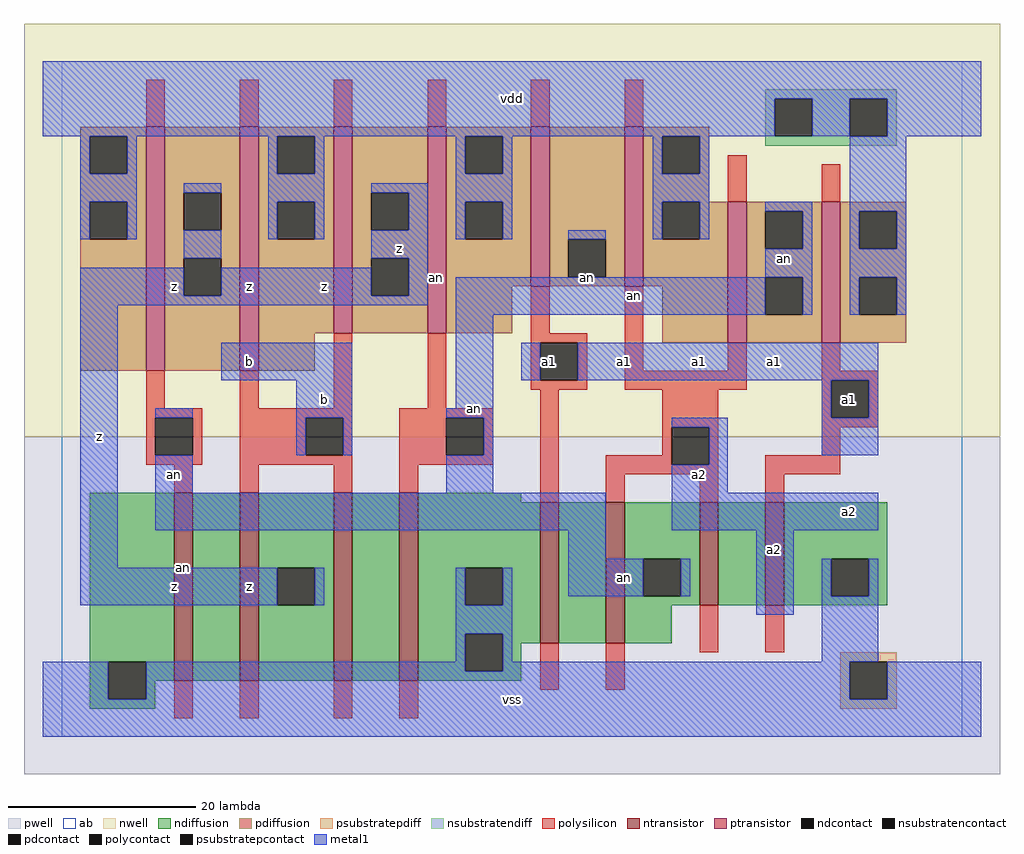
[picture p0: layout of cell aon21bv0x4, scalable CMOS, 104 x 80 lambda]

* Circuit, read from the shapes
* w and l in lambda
.subckt aon21bv0x4 a1 a2 an b vdd vss z
M1 n1 an vss vss nfet w=20 l=2
M2 z b n1 vss nfet w=20 l=2
M3 n2 b z vss nfet w=20 l=2
M4 vss an n2 vss nfet w=20 l=2
M5 n3 a1 vss vss nfet w=15 l=2
M6 an a2 n3 vss nfet w=15 l=2
M7 n4 a2 an vss nfet w=11 l=2
M8 vss a1 n4 vss nfet w=11 l=2
M9 z an vdd vdd pfet w=26 l=2
M10 vdd b z vdd pfet w=26 l=2
M11 z b vdd vdd pfet w=22 l=2
M12 vdd an z vdd pfet w=22 l=2
M13 an a1 vdd vdd pfet w=17 l=2
M14 vdd a2 an vdd pfet w=17 l=2
M15 an a2 vdd vdd pfet w=15 l=2
M16 vdd a1 an vdd pfet w=15 l=2
.ends

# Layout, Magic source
magic
tech scmos
<< ab >>
rect 0 0 96 72
<< pwell >>
rect -4 -4 100 32
<< nwell >>
rect -4 32 100 76
<< polysilicon >>
rect 9 65 11 70
rect 19 65 21 70
rect 29 65 31 70
rect 39 65 41 70
rect 50 65 52 70
rect 60 65 62 70
rect 71 57 73 62
rect 81 57 83 61
rect 50 43 52 48
rect 9 35 11 39
rect 19 35 21 39
rect 29 35 31 43
rect 39 35 41 43
rect 50 42 56 43
rect 50 38 51 42
rect 55 38 56 42
rect 50 37 56 38
rect 60 39 62 48
rect 71 39 73 42
rect 60 37 73 39
rect 81 39 83 42
rect 81 38 87 39
rect 9 34 15 35
rect 9 30 10 34
rect 14 30 15 34
rect 9 29 15 30
rect 19 34 31 35
rect 19 30 26 34
rect 30 30 31 34
rect 19 29 31 30
rect 12 26 14 29
rect 19 26 21 29
rect 29 26 31 29
rect 36 34 46 35
rect 36 30 41 34
rect 45 30 46 34
rect 36 29 46 30
rect 36 26 38 29
rect 51 25 53 37
rect 64 33 70 37
rect 64 30 65 33
rect 58 29 65 30
rect 69 29 70 33
rect 81 34 82 38
rect 86 34 87 38
rect 81 33 87 34
rect 81 30 83 33
rect 58 28 70 29
rect 58 25 60 28
rect 68 25 70 28
rect 75 28 83 30
rect 75 25 77 28
rect 12 2 14 6
rect 19 2 21 6
rect 29 2 31 6
rect 36 2 38 6
rect 51 5 53 10
rect 58 5 60 10
rect 68 9 70 14
rect 75 9 77 14
<< ndiffusion >>
rect 3 8 12 26
rect 3 4 5 8
rect 9 6 12 8
rect 14 6 19 26
rect 21 18 29 26
rect 21 14 23 18
rect 27 14 29 18
rect 21 6 29 14
rect 31 6 36 26
rect 38 25 49 26
rect 38 18 51 25
rect 38 14 43 18
rect 47 14 51 18
rect 38 11 51 14
rect 38 7 43 11
rect 47 10 51 11
rect 53 10 58 25
rect 60 19 68 25
rect 60 15 62 19
rect 66 15 68 19
rect 60 14 68 15
rect 70 14 75 25
rect 77 19 88 25
rect 77 15 82 19
rect 86 15 88 19
rect 77 14 88 15
rect 60 10 65 14
rect 47 7 49 10
rect 38 6 49 7
rect 9 4 10 6
rect 3 3 10 4
<< pdiffusion >>
rect 2 64 9 65
rect 2 60 3 64
rect 7 60 9 64
rect 2 57 9 60
rect 2 53 3 57
rect 7 53 9 57
rect 2 39 9 53
rect 11 58 19 65
rect 11 54 13 58
rect 17 54 19 58
rect 11 51 19 54
rect 11 47 13 51
rect 17 47 19 51
rect 11 39 19 47
rect 21 64 29 65
rect 21 60 23 64
rect 27 60 29 64
rect 21 57 29 60
rect 21 53 23 57
rect 27 53 29 57
rect 21 43 29 53
rect 31 58 39 65
rect 31 54 33 58
rect 37 54 39 58
rect 31 51 39 54
rect 31 47 33 51
rect 37 47 39 51
rect 31 43 39 47
rect 41 64 50 65
rect 41 60 43 64
rect 47 60 50 64
rect 41 57 50 60
rect 41 53 43 57
rect 47 53 50 57
rect 41 48 50 53
rect 52 53 60 65
rect 52 49 54 53
rect 58 49 60 53
rect 52 48 60 49
rect 62 64 69 65
rect 62 60 64 64
rect 68 60 69 64
rect 62 57 69 60
rect 62 53 64 57
rect 68 53 71 57
rect 62 48 71 53
rect 41 43 48 48
rect 21 39 27 43
rect 64 42 71 48
rect 73 56 81 57
rect 73 52 75 56
rect 79 52 81 56
rect 73 49 81 52
rect 73 45 75 49
rect 79 45 81 49
rect 73 42 81 45
rect 83 56 90 57
rect 83 52 85 56
rect 89 52 90 56
rect 83 49 90 52
rect 83 45 85 49
rect 89 45 90 49
rect 83 42 90 45
<< metal1 >>
rect -2 68 98 72
rect -2 64 76 68
rect 80 64 84 68
rect 88 64 98 68
rect 2 60 3 64
rect 7 60 8 64
rect 2 57 8 60
rect 22 60 23 64
rect 27 60 28 64
rect 2 53 3 57
rect 7 53 8 57
rect 13 58 17 59
rect 13 51 17 54
rect 22 57 28 60
rect 42 60 43 64
rect 47 60 48 64
rect 22 53 23 57
rect 27 53 28 57
rect 33 58 39 59
rect 37 54 39 58
rect 2 47 13 50
rect 33 51 39 54
rect 42 57 48 60
rect 42 53 43 57
rect 47 53 48 57
rect 63 60 64 64
rect 68 60 69 64
rect 63 57 69 60
rect 54 53 58 54
rect 63 53 64 57
rect 68 53 69 57
rect 75 56 80 57
rect 17 47 33 50
rect 37 47 39 51
rect 79 52 80 56
rect 75 49 80 52
rect 2 46 39 47
rect 2 18 6 46
rect 42 45 75 49
rect 79 45 80 49
rect 84 56 90 64
rect 84 52 85 56
rect 89 52 90 56
rect 84 49 90 52
rect 84 45 85 49
rect 89 45 90 49
rect 17 38 31 42
rect 10 34 14 35
rect 25 34 31 38
rect 42 35 46 45
rect 49 38 51 42
rect 55 38 87 42
rect 25 30 26 34
rect 30 30 31 34
rect 41 34 46 35
rect 81 34 82 38
rect 86 34 87 38
rect 45 30 46 34
rect 10 26 14 30
rect 41 26 46 30
rect 65 33 71 34
rect 69 29 71 33
rect 81 30 87 34
rect 65 26 71 29
rect 10 22 58 26
rect 65 22 87 26
rect 54 19 58 22
rect 2 14 23 18
rect 27 14 28 18
rect 42 14 43 18
rect 47 14 48 18
rect 54 15 62 19
rect 66 15 67 19
rect 42 11 48 14
rect 74 13 78 22
rect 81 15 82 19
rect 86 15 87 19
rect 42 8 43 11
rect -2 4 5 8
rect 9 7 43 8
rect 47 8 48 11
rect 81 8 87 15
rect 47 7 84 8
rect 9 4 84 7
rect 88 4 98 8
rect -2 0 98 4
<< ntransistor >>
rect 12 6 14 26
rect 19 6 21 26
rect 29 6 31 26
rect 36 6 38 26
rect 51 10 53 25
rect 58 10 60 25
rect 68 14 70 25
rect 75 14 77 25
<< ptransistor >>
rect 9 39 11 65
rect 19 39 21 65
rect 29 43 31 65
rect 39 43 41 65
rect 50 48 52 65
rect 60 48 62 65
rect 71 42 73 57
rect 81 42 83 57
<< polycontact >>
rect 51 38 55 42
rect 10 30 14 34
rect 26 30 30 34
rect 41 30 45 34
rect 65 29 69 33
rect 82 34 86 38
<< ndcontact >>
rect 5 4 9 8
rect 23 14 27 18
rect 43 14 47 18
rect 43 7 47 11
rect 62 15 66 19
rect 82 15 86 19
<< pdcontact >>
rect 3 60 7 64
rect 3 53 7 57
rect 13 54 17 58
rect 13 47 17 51
rect 23 60 27 64
rect 23 53 27 57
rect 33 54 37 58
rect 33 47 37 51
rect 43 60 47 64
rect 43 53 47 57
rect 54 49 58 53
rect 64 60 68 64
rect 64 53 68 57
rect 75 52 79 56
rect 75 45 79 49
rect 85 52 89 56
rect 85 45 89 49
<< psubstratepcontact >>
rect 84 4 88 8
<< nsubstratencontact >>
rect 76 64 80 68
rect 84 64 88 68
<< psubstratepdiff >>
rect 83 8 89 9
rect 83 4 84 8
rect 88 4 89 8
rect 83 3 89 4
<< nsubstratendiff >>
rect 75 68 89 69
rect 75 64 76 68
rect 80 64 84 68
rect 88 64 89 68
rect 75 63 89 64
<< labels >>
rlabel ntransistor 13 18 13 18 6 an
rlabel ptransistor 40 49 40 49 6 an
rlabel metal1 12 16 12 16 6 z
rlabel metal1 4 32 4 32 6 z
rlabel metal1 12 28 12 28 6 an
rlabel metal1 12 48 12 48 6 z
rlabel metal1 20 16 20 16 6 z
rlabel metal1 20 40 20 40 6 b
rlabel metal1 28 36 28 36 6 b
rlabel metal1 20 48 20 48 6 z
rlabel metal1 28 48 28 48 6 z
rlabel metal1 48 4 48 4 6 vss
rlabel polycontact 52 40 52 40 6 a1
rlabel metal1 44 35 44 35 6 an
rlabel metal1 36 52 36 52 6 z
rlabel metal1 56 49 56 49 6 an
rlabel metal1 48 68 48 68 6 vdd
rlabel metal1 60 17 60 17 6 an
rlabel metal1 76 20 76 20 6 a2
rlabel metal1 68 28 68 28 6 a2
rlabel metal1 60 40 60 40 6 a1
rlabel metal1 68 40 68 40 6 a1
rlabel metal1 76 40 76 40 6 a1
rlabel metal1 84 24 84 24 6 a2
rlabel polycontact 84 36 84 36 6 a1
rlabel metal1 61 47 61 47 6 an
rlabel metal1 77 51 77 51 6 an
<< end >>
